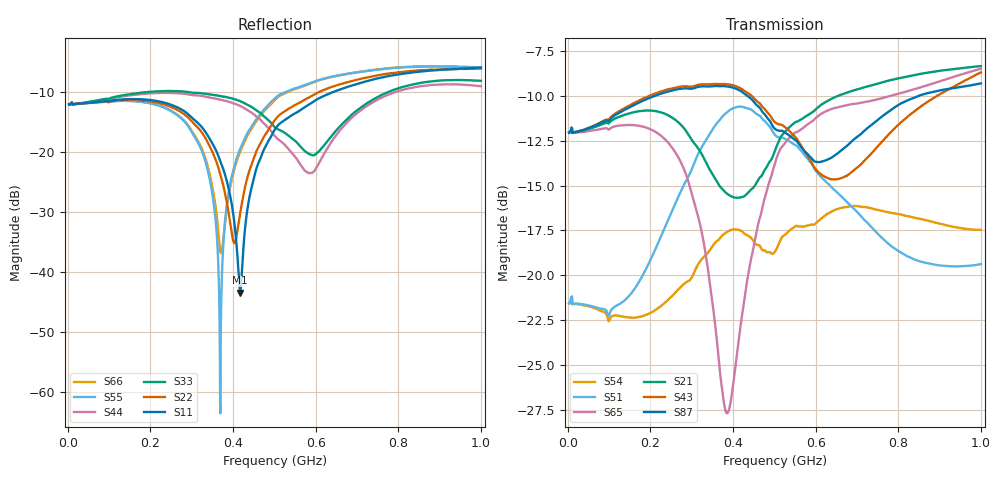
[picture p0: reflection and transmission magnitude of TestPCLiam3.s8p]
!Agilent Technologies,M9370A,MY54322275,A.02.50.04
!Agilent M9370A: A.02.50.04
!Date: Tuesday, March 20, 2018 18:19:50
!Correction: S11(Full 16 Port(1,2,3,4,5,6,7,8,9,10,11,12,13,14,15,16))
!S12(Full 16 Port(1,2,3,4,5,6,7,8,9,10,11,12,13,14,15,16))
!S13(Full 16 Port(1,2,3,4,5,6,7,8,9,10,11,12,13,14,15,16))
!S14(Full 16 Port(1,2,3,4,5,6,7,8,9,10,11,12,13,14,15,16))
!S15(Full 16 Port(1,2,3,4,5,6,7,8,9,10,11,12,13,14,15,16))
!S16(Full 16 Port(1,2,3,4,5,6,7,8,9,10,11,12,13,14,15,16))
!S17(Full 16 Port(1,2,3,4,5,6,7,8,9,10,11,12,13,14,15,16))
!S18(Full 16 Port(1,2,3,4,5,6,7,8,9,10,11,12,13,14,15,16))
!S21(Full 16 Port(1,2,3,4,5,6,7,8,9,10,11,12,13,14,15,16))
!S22(Full 16 Port(1,2,3,4,5,6,7,8,9,10,11,12,13,14,15,16))
!S23(Full 16 Port(1,2,3,4,5,6,7,8,9,10,11,12,13,14,15,16))
!S24(Full 16 Port(1,2,3,4,5,6,7,8,9,10,11,12,13,14,15,16))
!S25(Full 16 Port(1,2,3,4,5,6,7,8,9,10,11,12,13,14,15,16))
!S26(Full 16 Port(1,2,3,4,5,6,7,8,9,10,11,12,13,14,15,16))
!S27(Full 16 Port(1,2,3,4,5,6,7,8,9,10,11,12,13,14,15,16))
!S28(Full 16 Port(1,2,3,4,5,6,7,8,9,10,11,12,13,14,15,16))
!S31(Full 16 Port(1,2,3,4,5,6,7,8,9,10,11,12,13,14,15,16))
!S32(Full 16 Port(1,2,3,4,5,6,7,8,9,10,11,12,13,14,15,16))
!S33(Full 16 Port(1,2,3,4,5,6,7,8,9,10,11,12,13,14,15,16))
!S34(Full 16 Port(1,2,3,4,5,6,7,8,9,10,11,12,13,14,15,16))
!S35(Full 16 Port(1,2,3,4,5,6,7,8,9,10,11,12,13,14,15,16))
!S36(Full 16 Port(1,2,3,4,5,6,7,8,9,10,11,12,13,14,15,16))
!S37(Full 16 Port(1,2,3,4,5,6,7,8,9,10,11,12,13,14,15,16))
!S38(Full 16 Port(1,2,3,4,5,6,7,8,9,10,11,12,13,14,15,16))
!S41(Full 16 Port(1,2,3,4,5,6,7,8,9,10,11,12,13,14,15,16))
!S42(Full 16 Port(1,2,3,4,5,6,7,8,9,10,11,12,13,14,15,16))
!S43(Full 16 Port(1,2,3,4,5,6,7,8,9,10,11,12,13,14,15,16))
!S44(Full 16 Port(1,2,3,4,5,6,7,8,9,10,11,12,13,14,15,16))
!S45(Full 16 Port(1,2,3,4,5,6,7,8,9,10,11,12,13,14,15,16))
!S46(Full 16 Port(1,2,3,4,5,6,7,8,9,10,11,12,13,14,15,16))
!S47(Full 16 Port(1,2,3,4,5,6,7,8,9,10,11,12,13,14,15,16))
!S48(Full 16 Port(1,2,3,4,5,6,7,8,9,10,11,12,13,14,15,16))
!S51(Full 16 Port(1,2,3,4,5,6,7,8,9,10,11,12,13,14,15,16))
!S52(Full 16 Port(1,2,3,4,5,6,7,8,9,10,11,12,13,14,15,16))
!S53(Full 16 Port(1,2,3,4,5,6,7,8,9,10,11,12,13,14,15,16))
!S54(Full 16 Port(1,2,3,4,5,6,7,8,9,10,11,12,13,14,15,16))
!S55(Full 16 Port(1,2,3,4,5,6,7,8,9,10,11,12,13,14,15,16))
!S56(Full 16 Port(1,2,3,4,5,6,7,8,9,10,11,12,13,14,15,16))
!S57(Full 16 Port(1,2,3,4,5,6,7,8,9,10,11,12,13,14,15,16))
!S58(Full 16 Port(1,2,3,4,5,6,7,8,9,10,11,12,13,14,15,16))
!S61(Full 16 Port(1,2,3,4,5,6,7,8,9,10,11,12,13,14,15,16))
!S62(Full 16 Port(1,2,3,4,5,6,7,8,9,10,11,12,13,14,15,16))
!S63(Full 16 Port(1,2,3,4,5,6,7,8,9,10,11,12,13,14,15,16))
!S64(Full 16 Port(1,2,3,4,5,6,7,8,9,10,11,12,13,14,15,16))
!S65(Full 16 Port(1,2,3,4,5,6,7,8,9,10,11,12,13,14,15,16))
!S66(Full 16 Port(1,2,3,4,5,6,7,8,9,10,11,12,13,14,15,16))
!S67(Full 16 Port(1,2,3,4,5,6,7,8,9,10,11,12,13,14,15,16))
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# Hz S  RI  R 50
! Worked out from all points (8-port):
!   2000 points, 3 MHz to 1 GHz, reference 50 ohm
!   strongest paths, dB at 3 MHz, 252.4 MHz, 501.7 MHz, 751.1 MHz, 1 GHz:
!     S87: -12.0, -9.7, -11.8, -11.3, -9.3
!     S43: -12.0, -9.6, -11.5, -12.8, -8.7
!     S21: -12.0, -11.2, -13.0, -9.3, -8.3
!     S65: -12.0, -12.9, -13.7, -10.2, -8.5
!     S51: -21.6, -16.4, -12.2, -17.7, -19.4
!     S54: -21.6, -21.2, -18.7, -16.4, -17.5
!   lowest |S11| = -43.5 dB at 417 MHz (marker M1), VSWR 1.01, Z = 50.6 + j0.233 ohm
!   |S11| at or under -10 dB: start of sweep to 639.4 MHz
